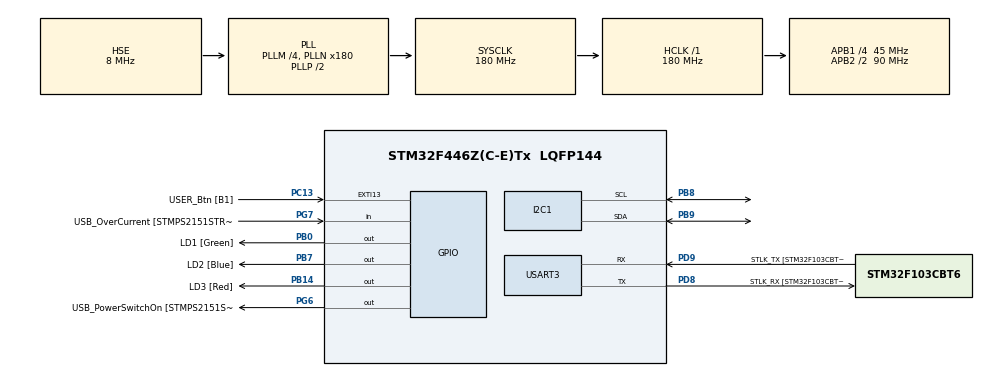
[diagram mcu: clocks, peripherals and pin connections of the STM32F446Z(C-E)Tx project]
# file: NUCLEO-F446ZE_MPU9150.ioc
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I2C1.I2C_Mode=I2C_Fast
Mcu.Family=STM32F4
Mcu.Name=STM32F446Z(C-E)Tx
Mcu.Package=LQFP144
NVIC.PriorityGroup=NVIC_PRIORITYGROUP_4
NVIC.TIM4_IRQn=true\:0\:0\:false\:false\:true\:true\:true\:true
PA13.GPIO_Label=TMS
PA13.Mode=Trace_Synchro_1bit_SW
PA13.Signal=SYS_JTMS-SWDIO
PA14.GPIO_Label=TCK
PA14.Mode=Trace_Synchro_1bit_SW
PA14.Signal=SYS_JTCK-SWCLK
PB0.GPIO_Label=LD1 [Green]
PB0.Signal=GPIO_Output
PB14.GPIO_Label=LD3 [Red]
PB14.Signal=GPIO_Output
PB7.GPIO_Label=LD2 [Blue]
PB7.Signal=GPIO_Output
PB8.Mode=I2C
PB8.Signal=I2C1_SCL
PB9.Mode=I2C
PB9.Signal=I2C1_SDA
PC13.GPIO_Label=USER_Btn [B1]
PC13.Signal=GPXTI13
PC14-OSC32_IN.Mode=LSE-External-Oscillator
PC14-OSC32_IN.Signal=RCC_OSC32_IN
PC15-OSC32_OUT.Mode=LSE-External-Oscillator
PC15-OSC32_OUT.Signal=RCC_OSC32_OUT
PD8.GPIO_Label=STLK_RX [STM32F103CBT6_PA3]
PD8.Mode=Asynchronous
PD8.Signal=USART3_TX
PD9.GPIO_Label=STLK_TX [STM32F103CBT6_PA2]
PD9.Mode=Asynchronous
PD9.Signal=USART3_RX
PE2.Mode=Trace_Synchro_1bit_SW
PE2.Signal=SYS_TRACECLK
PE3.Mode=Trace_Synchro_1bit_SW
PE3.Signal=SYS_TRACED0
PG6.GPIO_Label=USB_PowerSwitchOn [STMPS2151STR_EN]
PG6.Signal=GPIO_Output
PG7.GPIO_Label=USB_OverCurrent [STMPS2151STR_FAULT]
PG7.Signal=GPIO_Input
PH0-OSC_IN.GPIO_Label=MCO [STM32F103CBT6_PA8]
PH0-OSC_IN.Mode=HSE-External-Clock-Source
PH0-OSC_IN.Signal=RCC_OSC_IN
PH1-OSC_OUT.Mode=HSE-External-Clock-Source
PH1-OSC_OUT.Signal=RCC_OSC_OUT
ProjectManager.HeapSize=0x200
ProjectManager.StackSize=0x400
ProjectManager.TargetToolchain=STM32CubeIDE
RCC.48MHZClocksFreq_Value=24000000
RCC.AHBFreq_Value=180000000
RCC.APB1CLKDivider=RCC_HCLK_DIV4
RCC.APB1Freq_Value=45000000
RCC.APB1TimFreq_Value=90000000
RCC.APB2CLKDivider=RCC_HCLK_DIV2
RCC.APB2Freq_Value=90000000
RCC.APB2TimFreq_Value=180000000
RCC.CortexFreq_Value=180000000
RCC.HCLKFreq_Value=180000000
RCC.HSE_VALUE=8000000
RCC.HSI_VALUE=16000000
RCC.PLLM=4
RCC.PLLMUL=RCC_PLL_MUL9
RCC.PLLN=180
RCC.PLLQ=7
RCC.PLLSourceVirtual=RCC_PLLSOURCE_HSE
RCC.PRESCALERUSB=RCC_USBCLKSOURCE_PLL_DIV1_5
RCC.SYSCLKFreq_VALUE=180000000
RCC.SYSCLKSource=RCC_SYSCLKSOURCE_PLLCLK
RCC.SYSCLKSourceVirtual=RCC_SYSCLKSOURCE_PLLCLK
RCC.USBFreq_Value=51428571.428571425
RCC.VCOOutputFreq_Value=360000000
TIM4.Period=359
TIM4.Prescaler=999
USART3.VirtualMode=VM_ASYNC
VP_TIM4_VS_ClockSourceINT.Mode=Internal
board=NUCLEO-F446ZE

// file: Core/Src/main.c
/* USER CODE BEGIN Header */
/**
  ******************************************************************************
  * @file           : main.c
  * @brief          : Main program body
  ******************************************************************************
  * @attention
  *
  * Copyright (c) 2025 STMicroelectronics.
  * All rights reserved.
  *
  * This software is licensed under terms that can be found in the LICENSE file
  * in the root directory of this software component.
  * If no LICENSE file comes with this software, it is provided AS-IS.
  *
  ******************************************************************************
  */
/* USER CODE END Header */
#include "main.h"
#include "i2c.h"
#include "tim.h"
#include "usart.h"
#include "gpio.h"

/* USER CODE BEGIN Includes */
#include "stdio.h"
#include "mpu9150.h"
#include "lkf.h"
#include "arm_math.h"
/* USER CODE END Includes */

/* USER CODE BEGIN PD */
#define SAMPLE_FREQ			(250)
#define SAMPLE_PERIOD		(0.004f)
#define RAD_TO_DEG_MULT     (57.2958f)
/* USER CODE END PD */

/* USER CODE BEGIN PV */
int read_imu_flag = 0;
//float count = 0.0f;

extern I2C_HandleTypeDef hi2c1;
extern float x_gyro, x_accel;
float x;

imu mpu9150_imu = {
	.hi2c = &hi2c1,
	.dev_addr = 0x68,
	.angle_x = 0.0f,
	.angle_y = 0.0f,
};

float z[4] = {0.0f};;

volatile uint32_t *DWT_CONTROL = (uint32_t *)0xE0001000;
volatile uint32_t *DWT_CYCCNT = (uint32_t *)0xE0001004;
volatile uint32_t *DEMCR = (uint32_t *)0xE000EDFC;

uint32_t start, stop, time_duration;
/* USER CODE END PV */

void SystemClock_Config(void);

/* USER CODE BEGIN 0 */
int _write(int file, char *ptr, int len)
{
	int i = 0;
	for (i = 0; i < len; i++)
	{
		ITM_SendChar(*ptr++);
	}
	return len;
}
/* USER CODE END 0 */

int main(void)
{

  /* USER CODE BEGIN 1 */
//  int count = 0;
	float temp1, temp2;
  /* USER CODE END 1 */

  /* MCU Configuration--------------------------------------------------------*/

  /* Reset of all peripherals, Initializes the Flash interface and the Systick. */
  HAL_Init();

  /* USER CODE BEGIN Init */
  *DEMCR = *DEMCR | 0x01000000;

  *DWT_CYCCNT = 0;

  *DWT_CONTROL = *DWT_CONTROL | 1;

  /* USER CODE END Init */

  /* Configure the system clock */
  SystemClock_Config();

  /* Initialize all configured peripherals */
  MX_GPIO_Init();
  MX_USART3_UART_Init();
  MX_TIM4_Init();
  MX_I2C1_Init();
  /* USER CODE BEGIN 2 */
  mpu9150_init(&mpu9150_imu);

  mpu9150_calibrate(&mpu9150_imu);

  lkf_init(0.004);
  /* USER CODE END 2 */

  /* Infinite loop */
  /* USER CODE BEGIN WHILE */
  while (1)
  {
	  if (read_imu_flag == 1)
	  {
		  read_imu_flag = 0;
		  mpu9150_read_gyro(&mpu9150_imu, &mpu9150_imu.gyro_x_raw);
		  mpu9150_read_accel(&mpu9150_imu, &mpu9150_imu.accel_x_raw);
		  mpu9150_convert_from_raw(&mpu9150_imu);

		  /* Get pitch angle from accelerometer */
		  temp1 = (mpu9150_imu.accel_x * mpu9150_imu.accel_x) + (mpu9150_imu.accel_z * mpu9150_imu.accel_z);
		  arm_sqrt_f32(temp1, &temp2);
		  arm_atan2_f32(mpu9150_imu.accel_y, temp2, &temp1);
		  z[0] = temp1 * RAD_TO_DEG_MULT;

		  /* Get roll angle from accelerometer */
		  temp1 = (mpu9150_imu.accel_y * mpu9150_imu.accel_y) + (mpu9150_imu.accel_z * mpu9150_imu.accel_z);
		  arm_sqrt_f32(temp1, &temp2);
		  arm_atan2_f32(-mpu9150_imu.accel_x, temp2, &temp1);
		  z[1] = temp1 * RAD_TO_DEG_MULT;

		  z[2] = mpu9150_imu.gyro_x;
		  z[3] = mpu9150_imu.gyro_y;

		  start = *DWT_CYCCNT;
		  lkf_update(z, 4);
          stop = *DWT_CYCCNT;
          time_duration = stop-start;
	  }

    /* USER CODE END WHILE */

  }
}

void SystemClock_Config(void)
{
  RCC_OscInitTypeDef RCC_OscInitStruct = {0};
  RCC_ClkInitTypeDef RCC_ClkInitStruct = {0};

  /** Configure the main internal regulator output voltage
  */
  __HAL_RCC_PWR_CLK_ENABLE();
  __HAL_PWR_VOLTAGESCALING_CONFIG(PWR_REGULATOR_VOLTAGE_SCALE1);

  /** Initializes the RCC Oscillators according to the specified parameters
  * in the RCC_OscInitTypeDef structure.
  */
  RCC_OscInitStruct.OscillatorType = RCC_OSCILLATORTYPE_HSE;
  RCC_OscInitStruct.HSEState = RCC_HSE_BYPASS;
  RCC_OscInitStruct.PLL.PLLState = RCC_PLL_ON;
  RCC_OscInitStruct.PLL.PLLSource = RCC_PLLSOURCE_HSE;
  RCC_OscInitStruct.PLL.PLLM = 4;
  RCC_OscInitStruct.PLL.PLLN = 180;
  RCC_OscInitStruct.PLL.PLLP = RCC_PLLP_DIV2;
  RCC_OscInitStruct.PLL.PLLQ = 7;
  RCC_OscInitStruct.PLL.PLLR = 2;
  if (HAL_RCC_OscConfig(&RCC_OscInitStruct) != HAL_OK)
  {
    Error_Handler();
  }

  /** Activate the Over-Drive mode
  */
  if (HAL_PWREx_EnableOverDrive() != HAL_OK)
  {
    Error_Handler();
  }

  /** Initializes the CPU, AHB and APB buses clocks
  */
  RCC_ClkInitStruct.ClockType = RCC_CLOCKTYPE_HCLK|RCC_CLOCKTYPE_SYSCLK
                              |RCC_CLOCKTYPE_PCLK1|RCC_CLOCKTYPE_PCLK2;
  RCC_ClkInitStruct.SYSCLKSource = RCC_SYSCLKSOURCE_PLLCLK;
  RCC_ClkInitStruct.AHBCLKDivider = RCC_SYSCLK_DIV1;
  RCC_ClkInitStruct.APB1CLKDivider = RCC_HCLK_DIV4;
  RCC_ClkInitStruct.APB2CLKDivider = RCC_HCLK_DIV2;

  if (HAL_RCC_ClockConfig(&RCC_ClkInitStruct, FLASH_LATENCY_5) != HAL_OK)
  {
    Error_Handler();
  }
}

/* USER CODE BEGIN 4 */
void HAL_TIM_PeriodElapsedCallback(TIM_HandleTypeDef *htim)
{
	/* Triggers at a rate of 250 Hz ((90M/(999+1))/(359+1)) or every 4ms */
	if (htim->Instance == TIM4)
	{
		/* Set flag to read & update IMU data */
		read_imu_flag = 1;

		return;
	}
}

/* USER CODE END 4 */

void Error_Handler(void)
{
  __disable_irq();
  while (1)
  {
  }
}
